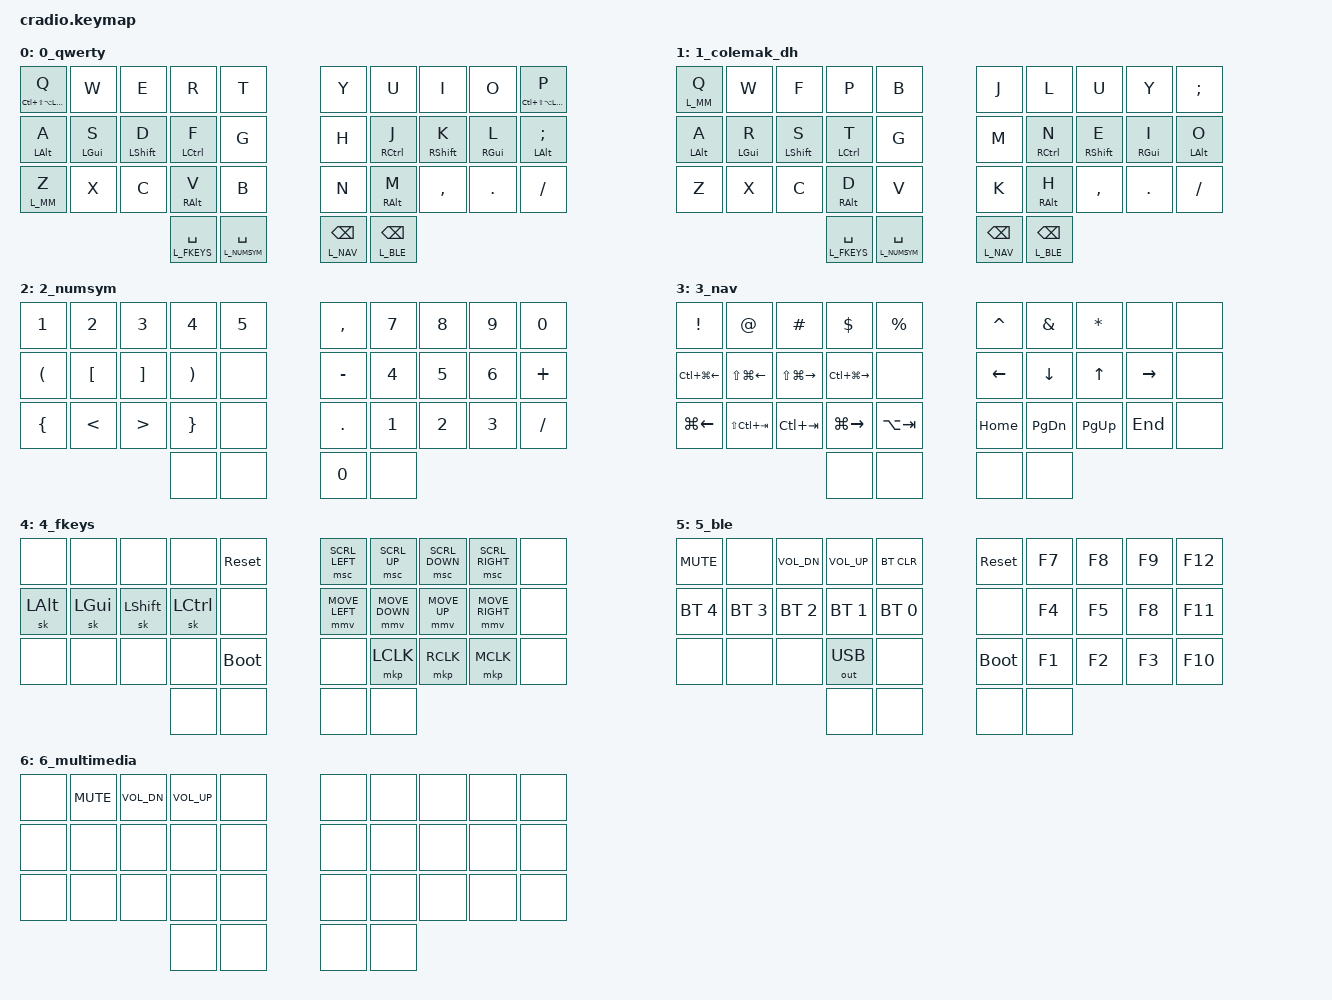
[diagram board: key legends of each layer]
/*
 * Copyright (c) 2020 The ZMK Contributors
 *
 * SPDX-License-Identifier: MIT
 */

#include <behaviors.dtsi>
#include <dt-bindings/zmk/keys.h>
#include <dt-bindings/zmk/bt.h>
#include <dt-bindings/zmk/outputs.h>
#include <dt-bindings/zmk/pointing.h>

#define L_QWERTY 0
#define L_COLEMAK 1
#define L_NUMSYM 2
#define L_NAV 3
#define L_FKEYS 4
#define L_BLE 5
#define L_MM 6
#define HYPER LC(LS(LA(LGUI)))

&mt {
    tapping_term_ms = <150>;
    flavor = "tap-preferred";
};

&lt {
    tapping_term_ms = <150>;
    flavor = "tap-preferred";
    quick-tap-ms = <150>;
};

&caps_word {
    continue-list = <UNDERSCORE MINUS BACKSPACE>;
};

&sk {
    release-after-ms = <1000>;
    quick-release;
    /delete-property/ ignore-modifiers;
};

/ {
    behaviors {
        hml: homerow_mods_left {
            compatible = "zmk,behavior-hold-tap";
            #binding-cells = <2>;
            flavor = "balanced";
            require-prior-idle-ms = <150>;
            tapping-term-ms = <150>;
            quick-tap-ms = <175>;
            #global-quick-tap;
            bindings = <&kp>, <&kp>;
            hold-trigger-key-positions = <5 6 7 8 9 15 16 17 18 19 25 26 27 28 29 10 11 12 13 23 30 31 32 33>;
            hold-trigger-on-release;
        };
        hmr: homerow_mods_right {
            compatible = "zmk,behavior-hold-tap";
            #binding-cells = <2>;
            flavor = "balanced";
            require-prior-idle-ms = <150>;
            tapping-term-ms = <150>;
            quick-tap-ms = <175>;
            #global-quick-tap;
            bindings = <&kp>, <&kp>;
            hold-trigger-key-positions = <0 1 2 3 4 10 11 12 13 14 20 21 22 23 24 16 17 18 19 26 30 31 32 33>;
            hold-trigger-on-release;
        };
    };

    combos {
        compatible = "zmk,combos";
        combo_sticky_shift_left {
            timeout-ms = <30>;
            key-positions = <11 12>;
            bindings = <&sk LSHIFT>;
        };
        combo_sticky_shift_right {
            timeout-ms = <30>;
            key-positions = <17 18>;
            bindings = <&sk RSHIFT>;
        };
        combo_sticky_altgr_left {
            timeout-ms = <30>;
            key-positions = <10 11>;
            bindings = <&sk RALT>;
        };
        combo_sticky_altggr_right {
            timeout-ms = <30>;
            key-positions = <18 19>;
            bindings = <&sk RALT>;
        };
        combo_copy {
            timeout-ms = <30>;
            key-positions = <20 22>;
            bindings = <&kp LC(C)>;
        };
        combo_cut {
            timeout-ms = <30>;
            key-positions = <20 21>;
            bindings = <&kp LC(X)>;
        };
        combo_paste {
            timeout-ms = <30>;
            key-positions = <21 22>;
            bindings = <&kp LC(V)>;
        };
        combo_tab {
            timeout-ms = <30>;
            key-positions = <1 3>;
            bindings = <&kp TAB>;
        };
        combo_esc {
            timeout-ms = <30>;
            key-positions = <1 2 3>;
            bindings = <&kp ESC>;
        };
        combo_reset_left {
            timeout-ms = <30>;
            key-positions = <0 1 2 3>;
            bindings = <&sys_reset>;
        };
        /*combo_bootloader_left {*/
            /*timeout-ms = <30>;*/
            /*key-positions = <20 21 22 23>;*/
            /*bindings = <&bootloader>;*/
        /*};*/
        combo_reset_right {
            timeout-ms = <30>;
            key-positions = <6 7 8 9>;
            bindings = <&sys_reset>;
        };
        /*combo_bootloader_right {*/
            /*timeout-ms = <30>;*/
            /*key-positions = <26 27 28 29>;*/
            /*bindings = <&bootloader>;*/
        /*};*/
        combo_vm_exit {
            timeout-ms = <50>;
            key-positions = <10 11 12 13>;
            bindings = <&kp K_APPLICATION>;
        };
        combo_minus {
            timeout-ms = <30>;
            key-positions = <6 7>;
            bindings = <&kp MINUS>;
        };
        combo_equals {
            timeout-ms = <30>;
            key-positions = <7 8>;
            bindings = <&kp EQUAL>;
        };
        combo_underscore {
            timeout-ms = <30>;
            key-positions = <26 27>;
            bindings = <&kp UNDERSCORE>;
        };
        combo_double_quotes {
            timeout-ms = <30>;
            key-positions = <1 2>;
            bindings = <&kp DOUBLE_QUOTES>;
        };
        combo_single_quote {
            timeout-ms = <30>;
            key-positions = <2 3>;
            bindings = <&kp SINGLE_QUOTE>;
        };
        combo_backtick {
            timeout-ms = <30>;
            key-positions = <22 23>;
            bindings = <&kp GRAVE>;
        };
        combo_excl {
            timeout-ms = <30>;
            key-positions = <27 28>;
            bindings = <&kp EXCLAMATION>;
        };
        combo_pipe {
            timeout-ms = <30>;
            key-positions = <26 27 28>;
            bindings = <&kp PIPE>;
        };
        combo_backslash {
            timeout-ms = <30>;
            key-positions = <28 29>;
            bindings = <&kp BACKSLASH>;
        };
        combo_delete {
            timeout-ms = <30>;
            key-positions = <12 13>;
            bindings = <&kp DELETE>;
        };
        combo_enter {
            timeout-ms = <30>;
            key-positions = <16 17>;
            bindings = <&kp ENTER>;
        };
        combo_capslock {
            timeout-ms = <30>;
            key-positions = <6 7 8>;
            bindings = <&caps_word>;
        };
        combo_fkeys {
            timeout-ms = <30>;
            key-positions = <20 21 22>;
            bindings = <&sl L_FKEYS>;
        };
        combo_qwerty {
            timeout-ms = <30>;
            key-positions = <0 1 2 3>;
            bindings = <&to L_QWERTY>;
        };
        combo_colemak_dh {
            timeout-ms = <30>;
            key-positions = <20 21 22 23>;
            bindings = <&to L_COLEMAK>;
        };
    };

    /*
    // Numbers:
    //  0  1  2  3  4   |    5  6  7  8  9
    // 10 11 12 13 14   |   15 16 17 18 19
    // 20 21 22 23 24   |   25 26 27 28 29
    //          30 31   |   32 33
    */

    keymap {
        compatible = "zmk,keymap";
        0_qwerty {
            bindings = <
&hml HYPER Q     &kp W        &kp E          &kp R         &kp T  &kp Y  &kp U         &kp I         &kp O        &hmr HYPER P
&hml LALT A  &hml LGUI S  &hml LSHIFT D  &hml LCTRL F  &kp G  &kp H  &hmr RCTRL J  &hmr RSHFT K  &hmr RGUI L  &hmr LALT SEMICOLON
&lt L_MM Z   &kp X        &kp C          &hml RALT V   &kp B  &kp N  &hmr RALT M   &kp COMMA     &kp DOT      &kp SLASH
                    &lt L_FKEYS SPC  &lt L_NUMSYM SPC           &lt L_NAV BSPC  &lt L_BLE BSPC
            >;
        };

        1_colemak_dh {
            bindings = <
    &lt L_MM Q       &kp W       &kp F           &kp P           &kp B       &kp J   &kp L           &kp U           &kp Y       &kp SEMICOLON
    &hml LALT A &hml LGUI R &hml LSHIFT S   &hml LCTRL T    &kp G       &kp M   &hmr RCTRL N    &hmr RSHFT E    &hmr RGUI I &hmr LALT O
    &kp Z       &kp X       &kp C           &hml RALT D     &kp V       &kp K   &hmr RALT H     &kp COMMA       &kp DOT     &kp SLASH
                            &lt L_FKEYS SPC  &lt L_NUMSYM SPC           &lt L_NAV BSPC  &lt L_BLE BSPC
            >;
        };

        2_numsym {
            bindings = <
&kp N1    &kp N2    &kp N3    &kp N4    &kp N5  &kp COMMA  &kp N7  &kp N8  &kp N9  &kp N0
&kp LPAR  &kp LBKT  &kp RBKT  &kp RPAR  &none   &kp MINUS  &kp N4  &kp N5  &kp N6  &kp PLUS
&kp LBRC  &kp LT    &kp GT    &kp RBRC  &none   &kp DOT    &kp N1  &kp N2  &kp N3  &kp SLASH
                                    &none       &none           &kp N0      &none
            >;
        };

        3_nav {
            bindings = <
&kp EXCL          &kp AT            &kp HASH           &kp DOLLAR         &kp PRCNT    &kp CARET  &kp AMPS   &kp ASTRK  &none      &none
&kp LC(LG(LEFT))  &kp LS(LG(LEFT))  &kp LS(LG(RIGHT))  &kp LC(LG(RIGHT))  &none        &kp LEFT   &kp DOWN   &kp UP     &kp RIGHT  &none
&kp LG(LEFT)      &kp LS(LC(TAB))   &kp LC(TAB)        &kp LG(RIGHT)      &kp LA(TAB)  &kp HOME   &kp PG_DN  &kp PG_UP  &kp END    &none
                                     &none       &none           &none       &none
            >;
        };

        4_fkeys {
            bindings = <
    &none         &none         &none           &none             &sys_reset   &msc SCRL_LEFT  &msc SCRL_UP    &msc SCRL_DOWN  &msc SCRL_RIGHT  &none
    &sk LEFT_ALT  &sk LEFT_GUI  &sk LEFT_SHIFT  &sk LEFT_CONTROL  &none        &mmv MOVE_LEFT  &mmv MOVE_DOWN  &mmv MOVE_UP    &mmv MOVE_RIGHT  &none
    &none         &none         &none           &none             &bootloader  &none           &mkp LCLK       &mkp RCLK       &mkp MCLK       &none
                                      &none            &none       &none       &none
            >;
        };

        5_ble {
            bindings = <
  &kp C_MUTE    &none         &kp C_VOL_DN  &kp C_VOL_UP  &bt BT_CLR    &sys_reset   &kp F7  &kp F8  &kp F9  &kp F12
  &bt BT_SEL 4  &bt BT_SEL 3  &bt BT_SEL 2  &bt BT_SEL 1  &bt BT_SEL 0  &none        &kp F4  &kp F5  &kp F8  &kp F11
  &none         &none         &none         &out OUT_USB  &none         &bootloader  &kp F1  &kp F2  &kp F3  &kp F10
                                       &none           &none           &none         &none
            >;
        };

        6_multimedia {
            bindings = <
&none           &kp C_MUTE      &kp C_VOL_DN    &kp C_VOL_UP    &none           &none         &none   &none   &none   &none
&none           &none           &none           &none           &none           &none         &none   &none   &none   &none
&none           &none           &none           &none           &none           &none         &none   &none   &none   &none
                                       &none           &none           &none         &none
            >;
        };

    };
};
